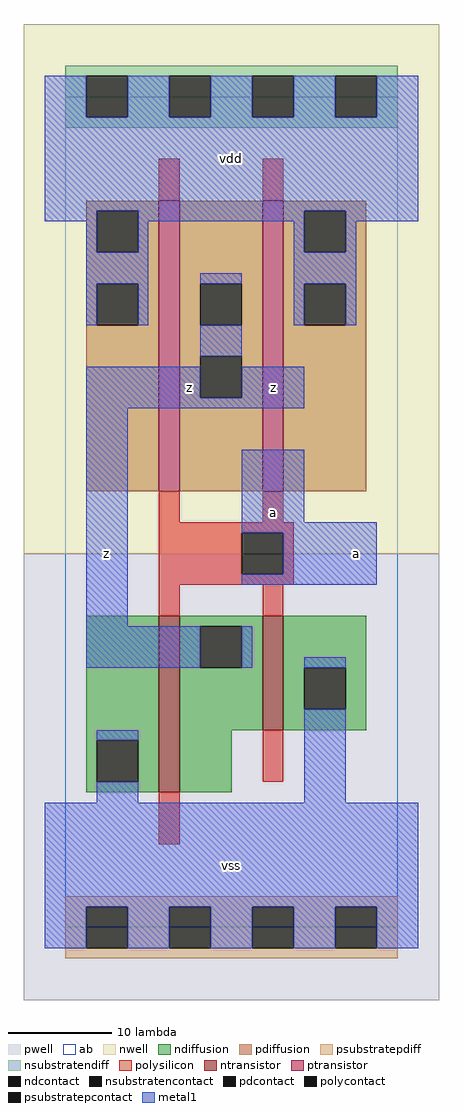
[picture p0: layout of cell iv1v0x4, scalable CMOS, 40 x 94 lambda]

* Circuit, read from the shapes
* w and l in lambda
.subckt iv1v0x4 a vdd vss z
M1 z a vss vss nfet w=17 l=2
M2 vss a z vss nfet w=11 l=2
M3 z a vdd vdd pfet w=28 l=2 m=2
.ends

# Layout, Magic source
magic
tech scmos
<< ab >>
rect 0 0 32 80
<< pwell >>
rect -4 -7 36 36
<< nwell >>
rect -4 36 36 87
<< polysilicon >>
rect 9 70 11 74
rect 19 70 21 74
rect 9 39 11 42
rect 19 39 21 42
rect 9 38 22 39
rect 9 34 17 38
rect 21 34 22 38
rect 9 33 22 34
rect 9 30 11 33
rect 19 30 21 33
rect 19 14 21 19
rect 9 8 11 13
<< ndiffusion >>
rect 2 18 9 30
rect 2 14 3 18
rect 7 14 9 18
rect 2 13 9 14
rect 11 29 19 30
rect 11 25 13 29
rect 17 25 19 29
rect 11 19 19 25
rect 21 25 29 30
rect 21 21 23 25
rect 27 21 29 25
rect 21 19 29 21
rect 11 13 16 19
<< pdiffusion >>
rect 2 69 9 70
rect 2 65 3 69
rect 7 65 9 69
rect 2 62 9 65
rect 2 58 3 62
rect 7 58 9 62
rect 2 42 9 58
rect 11 62 19 70
rect 11 58 13 62
rect 17 58 19 62
rect 11 55 19 58
rect 11 51 13 55
rect 17 51 19 55
rect 11 42 19 51
rect 21 69 29 70
rect 21 65 23 69
rect 27 65 29 69
rect 21 62 29 65
rect 21 58 23 62
rect 27 58 29 62
rect 21 42 29 58
<< metal1 >>
rect -2 78 2 82
rect 6 78 10 82
rect 14 78 18 82
rect 22 78 26 82
rect 30 78 34 82
rect -2 69 34 78
rect -2 68 3 69
rect 2 65 3 68
rect 7 68 23 69
rect 7 65 8 68
rect 2 62 8 65
rect 22 65 23 68
rect 27 68 34 69
rect 27 65 28 68
rect 2 58 3 62
rect 7 58 8 62
rect 13 62 17 63
rect 22 62 28 65
rect 22 58 23 62
rect 27 58 28 62
rect 13 55 17 58
rect 2 51 13 54
rect 17 51 23 54
rect 2 50 23 51
rect 2 29 6 50
rect 17 39 23 46
rect 17 38 30 39
rect 21 34 30 38
rect 17 33 30 34
rect 2 25 13 29
rect 17 25 18 29
rect 23 25 27 26
rect 3 18 7 19
rect 3 12 7 14
rect 23 12 27 21
rect -2 2 34 12
rect -2 -2 2 2
rect 6 -2 10 2
rect 14 -2 18 2
rect 22 -2 26 2
rect 30 -2 34 2
<< ntransistor >>
rect 9 13 11 30
rect 19 19 21 30
<< ptransistor >>
rect 9 42 11 70
rect 19 42 21 70
<< polycontact >>
rect 17 34 21 38
<< ndcontact >>
rect 3 14 7 18
rect 13 25 17 29
rect 23 21 27 25
<< pdcontact >>
rect 3 65 7 69
rect 3 58 7 62
rect 13 58 17 62
rect 13 51 17 55
rect 23 65 27 69
rect 23 58 27 62
<< psubstratepcontact >>
rect 2 -2 6 2
rect 10 -2 14 2
rect 18 -2 22 2
rect 26 -2 30 2
<< nsubstratencontact >>
rect 2 78 6 82
rect 10 78 14 82
rect 18 78 22 82
rect 26 78 30 82
<< psubstratepdiff >>
rect 0 2 32 3
rect 0 -2 2 2
rect 6 -2 10 2
rect 14 -2 18 2
rect 22 -2 26 2
rect 30 -2 32 2
rect 0 -3 32 -2
<< nsubstratendiff >>
rect 0 82 32 83
rect 0 78 2 82
rect 6 78 10 82
rect 14 78 18 82
rect 22 78 26 82
rect 30 78 32 82
rect 0 77 32 78
<< labels >>
rlabel metal1 4 36 4 36 6 z
rlabel metal1 12 52 12 52 6 z
rlabel metal1 16 6 16 6 6 vss
rlabel metal1 20 40 20 40 6 a
rlabel metal1 20 52 20 52 6 z
rlabel metal1 16 74 16 74 6 vdd
rlabel metal1 28 36 28 36 6 a
<< end >>
